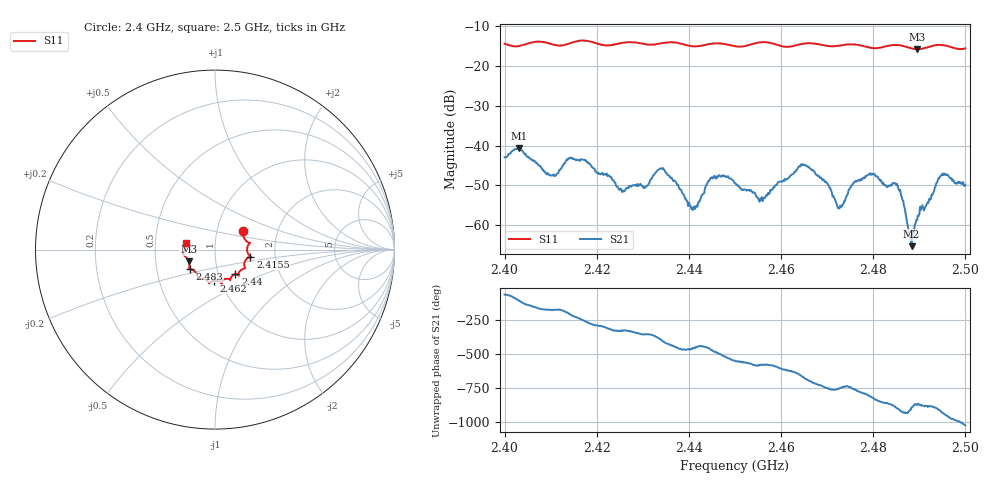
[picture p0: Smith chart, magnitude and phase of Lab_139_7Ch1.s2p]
# Hz S RI R 50
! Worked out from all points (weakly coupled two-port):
!   601 points, 2.4 GHz to 2.5 GHz, reference 50 ohm
!   highest |S21| = -40.73 dB at 2.4032 GHz (marker M1); lowest = -65.2 dB at 2.4883 GHz (marker M2)
!   lowest |S11| = -15.9 dB at 2.4895 GHz (marker M3), VSWR 1.38, Z = 37 - j5.01 ohm
!   |S11| at or under -10 dB: start of sweep to end of sweep
!   S12 and S22 are empty: the file has one direction only
!   S11 on the Smith chart (normalised r, x): 2.4 GHz: 1.33, +0.29; 2.4155 GHz: 1.49, -0.12; 2.44 GHz: 1.20, -0.34; 2.462 GHz: 0.93, -0.33; 2.483 GHz: 0.74, -0.17; 2.5 GHz: 0.72, +0.06
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2.4e9  0.1551 0.1063  0.00358 -0.00616  0 0  0 0
2.403167e9  0.1666 0.0572  -0.00235 -0.00889  0 0  0 0
2.41e9  0.1854 0.0259  -0.00417 -0.000565  0 0  0 0
2.4155e9  0.1974 -0.0393  -0.00453 0.00474  0 0  0 0
2.416667e9  0.2019 -0.0426  -0.00306 0.0059  0 0  0 0
2.4255e9  0.166 -0.0982  0.00221 0.00141  0 0  0 0
2.433333e9  0.131 -0.1337  0.0047 -0.00158  0 0  0 0
2.44e9  0.1138 -0.1367  -0.00036 -0.0019  0 0  0 0
2.445167e9  0.0847 -0.1692  -0.00159 -0.00353  0 0  0 0
2.45e9  0.0649 -0.1627  -0.00336 0.000471  0 0  0 0
2.455667e9  0.0374 -0.1927  -0.00171 0.00123  0 0  0 0
2.462e9  -0.0053 -0.1731  -0.000608 0.00411  0 0  0 0
2.466667e9  -0.0342 -0.1874  0.00474 0.00131  0 0  0 0
2.472667e9  -0.0766 -0.1605  0.0014 -0.000821  0 0  0 0
2.478833e9  -0.1023 -0.1356  0.000804 -0.00419  0 0  0 0
2.483e9  -0.1375 -0.1096  -0.00225 -0.002  0 0  0 0
2.483333e9  -0.1401 -0.1094  -0.00248 -0.00183  0 0  0 0
2.4855e9  -0.146 -0.1063  -0.00283 0.000143  0 0  0 0
2.488333e9  -0.1424 -0.0821  -0.00054 -9.8e-05  0 0  0 0
2.4895e9  -0.1462 -0.066  -0.00102 -0.000563  0 0  0 0
2.495e9  -0.18 -0.0197  -0.00384 0.0022  0 0  0 0
2.5e9  -0.1598 0.0393  0.00173 0.00268  0 0  0 0
